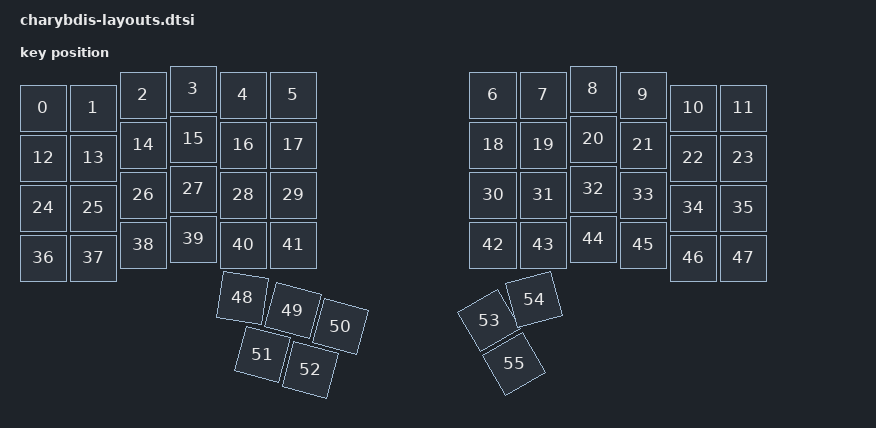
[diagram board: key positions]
#include <physical_layouts.dtsi>

/ {
    charybdis_physical_layout: charybdis_physical_layout {
        compatible = "zmk,physical-layout";
        display-name = "Charybdis 4x6";

        keys
            // Left Half - Main Keys
            //                       w   h    x    y     rot    rx    ry
            = <&key_physical_attrs 100 100    0   38       0     0     0>
            , <&key_physical_attrs 100 100  100   38       0     0     0>
            , <&key_physical_attrs 100 100  200   12       0     0     0>
            , <&key_physical_attrs 100 100  300    0       0     0     0>
            , <&key_physical_attrs 100 100  400   12       0     0     0>
            , <&key_physical_attrs 100 100  500   12       0     0     0>
            , <&key_physical_attrs 100 100  900   12       0     0     0>
            , <&key_physical_attrs 100 100 1000   12       0     0     0>
            , <&key_physical_attrs 100 100 1100    0       0     0     0>
            , <&key_physical_attrs 100 100 1200   12       0     0     0>
            , <&key_physical_attrs 100 100 1300   38       0     0     0>
            , <&key_physical_attrs 100 100 1400   38       0     0     0>

            , <&key_physical_attrs 100 100    0  138       0     0     0>
            , <&key_physical_attrs 100 100  100  138       0     0     0>
            , <&key_physical_attrs 100 100  200  112       0     0     0>
            , <&key_physical_attrs 100 100  300  100       0     0     0>
            , <&key_physical_attrs 100 100  400  112       0     0     0>
            , <&key_physical_attrs 100 100  500  112       0     0     0>
            , <&key_physical_attrs 100 100  900  112       0     0     0>
            , <&key_physical_attrs 100 100 1000  112       0     0     0>
            , <&key_physical_attrs 100 100 1100  100       0     0     0>
            , <&key_physical_attrs 100 100 1200  112       0     0     0>
            , <&key_physical_attrs 100 100 1300  138       0     0     0>
            , <&key_physical_attrs 100 100 1400  138       0     0     0>

            , <&key_physical_attrs 100 100    0  238       0     0     0>
            , <&key_physical_attrs 100 100  100  238       0     0     0>
            , <&key_physical_attrs 100 100  200  212       0     0     0>
            , <&key_physical_attrs 100 100  300  200       0     0     0>
            , <&key_physical_attrs 100 100  400  212       0     0     0>
            , <&key_physical_attrs 100 100  500  212       0     0     0>
            , <&key_physical_attrs 100 100  900  212       0     0     0>
            , <&key_physical_attrs 100 100 1000  212       0     0     0>
            , <&key_physical_attrs 100 100 1100  200       0     0     0>
            , <&key_physical_attrs 100 100 1200  212       0     0     0>
            , <&key_physical_attrs 100 100 1300  238       0     0     0>
            , <&key_physical_attrs 100 100 1400  238       0     0     0>

            , <&key_physical_attrs 100 100    0  338       0     0     0>
            , <&key_physical_attrs 100 100  100  338       0     0     0>
            , <&key_physical_attrs 100 100  200  312       0     0     0>
            , <&key_physical_attrs 100 100  300  300       0     0     0>
            , <&key_physical_attrs 100 100  400  312       0     0     0>
            , <&key_physical_attrs 100 100  500  312       0     0     0>
            , <&key_physical_attrs 100 100  900  312       0     0     0>
            , <&key_physical_attrs 100 100 1000  312       0     0     0>
            , <&key_physical_attrs 100 100 1100  300       0     0     0>
            , <&key_physical_attrs 100 100 1200  312       0     0     0>
            , <&key_physical_attrs 100 100 1300  338       0     0     0>
            , <&key_physical_attrs 100 100 1400  338       0     0     0>

            // Thumb Clusters
            //                       w   h    x    y     rot    rx    ry
            , <&key_physical_attrs 100 100  348  414    900    398   790>
            , <&key_physical_attrs 100 100  418  414    1500   398   790>
            , <&key_physical_attrs 100 100  518  420    1500   398   790>
            , <&key_physical_attrs 100 100  382  514    1500   398   790>
            , <&key_physical_attrs 100 100  482  520    1500   398   790>
            , <&key_physical_attrs 100 100 1052  420 (-3000)  1102   790>
            , <&key_physical_attrs 100 100 1067  414 (-1500)  1102   790>
            , <&key_physical_attrs 100 100 1052  520 (-3000)  1102   790>
            ;
    };

    charybdis_position_map: charybdis_position_map {
        compatible = "zmk,physical-layout-position-map";
        complete;
        charybdis_layout: charybdis_layout {
            physical-layout = <&charybdis_physical_layout>;
            positions
                = < 0  1  2  3  4  5  6  7  8  9 10 11 >
                , <12 13 14 15 16 17 18 19 20 21 22 23 >
                , <24 25 26 27 28 29 30 31 32 33 34 35 >
                , <36 37 38 39 40 41 42 43 44 45 46 47 >
                , <   48 49 50 51 52 53 54 55          >
                ;
        };
    };
};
